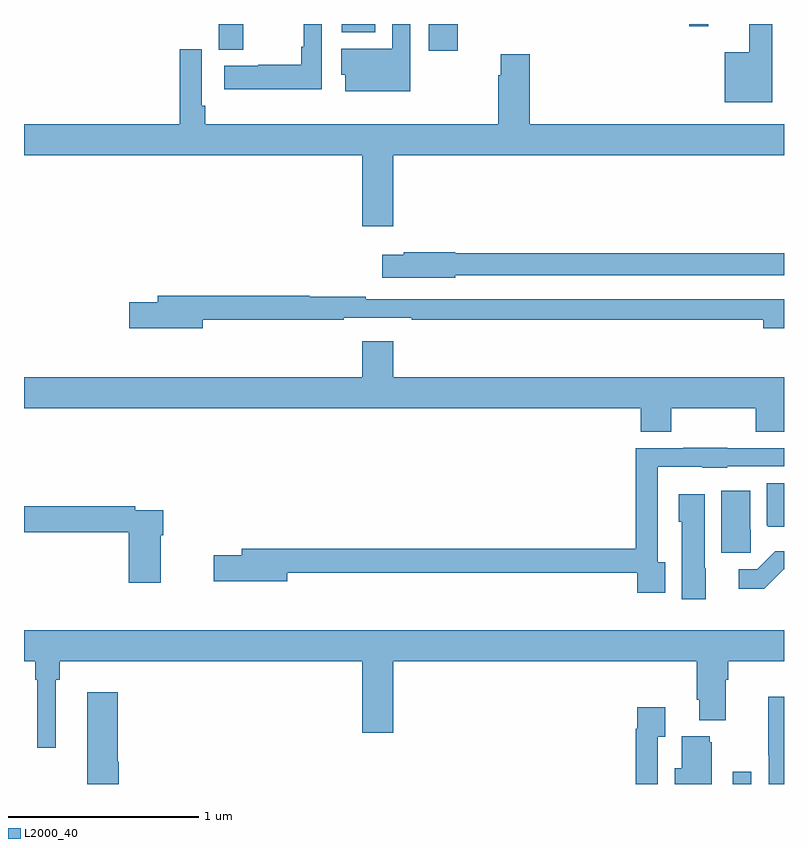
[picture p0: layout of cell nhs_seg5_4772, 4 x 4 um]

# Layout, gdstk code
import gdstk
lib = gdstk.Library(unit=1e-6, precision=1e-09)
def R(c, l, rs):  # rectangles x0, y0, x1, y1
    for r in rs: c.add(gdstk.rectangle(r[:2], r[2:], *l))
def P(c, l, *ps):  # polygons
    for p in ps: c.add(gdstk.Polygon(p, *l))
L2000_40 = (2000, 40)

nhs_seg5_4772 = lib.new_cell('nhs_seg5_4772')
R(nhs_seg5_4772, L2000_40, [(394.731,838.799,394.827,838.864), (393.131,842.658,393.283,842.799), (392.024,842.663,392.154,842.799), (392.672,842.756,392.848,842.799), (394.502,842.788,394.602,842.799)])
P(nhs_seg5_4772, L2000_40, [(392.568,842.799),(392.472,842.799),(392.472,842.68),(392.46,842.68),(392.46,842.584),(392.232,842.584),(392.232,842.578),(392.055,842.578),(392.055,842.456),(392.568,842.456)],
  [(394.939,842.799),(394.818,842.799),(394.818,842.65),(394.688,842.65),(394.688,842.387),(394.939,842.387)],
  [(393.033,842.799),(392.937,842.799),(392.937,842.668),(392.669,842.668),(392.669,842.532),(392.69,842.532),(392.69,842.444),(393.033,842.444)],
  [(392.944,842.108),(395,842.108),(395,842.272),(393.662,842.272),(393.662,842.641),(393.509,842.641),(393.509,842.528),(393.497,842.528),(393.497,842.272),(391.955,842.272),(391.955,842.368),(391.935,842.368),(391.935,842.665),(391.819,842.665),(391.819,842.272),(391,842.272),(391,842.108),(392.78,842.108),(392.78,841.734),(392.944,841.734)],
  [(393.27,841.476),(395,841.476),(395,841.592),(393.27,841.592),(393.27,841.598),(392.998,841.598),(392.998,841.585),(392.886,841.585),(392.886,841.463),(393.27,841.463)],
  [(391.942,841.242),(392.684,841.242),(392.684,841.254),(393.04,841.254),(393.04,841.242),(394.892,841.242),(394.892,841.199),(395,841.199),(395,841.35),(392.798,841.35),(392.798,841.363),(392.503,841.363),(392.503,841.37),(391.703,841.37),(391.703,841.334),(391.554,841.334),(391.554,841.199),(391.942,841.199)],
  [(394.407,840.776),(394.852,840.776),(394.852,840.652),(395,840.652),(395,840.94),(392.944,840.94),(392.944,841.129),(392.78,841.129),(392.78,840.94),(391,840.94),(391,840.776),(394.247,840.776),(394.247,840.652),(394.407,840.652)],
  [(394.375,839.966),(394.335,839.966),(394.335,840.47),(394.569,840.47),(394.569,840.464),(394.701,840.464),(394.701,840.471),(395,840.471),(395,840.567),(394.701,840.567),(394.701,840.569),(394.469,840.569),(394.469,840.567),(394.219,840.567),(394.219,840.038),(392.147,840.038),(392.147,840.002),(391.998,840.002),(391.998,839.867),(392.386,839.867),(392.386,839.91),(394.227,839.91),(394.227,839.805),(394.375,839.805)],
  [(395,840.382),(394.91,840.382),(394.91,840.16),(394.918,840.152),(395,840.152)],
  [(394.826,840.138),(394.822,840.138),(394.822,840.343),(394.67,840.343),(394.67,840.015),(394.826,840.015)],
  [(394.588,839.934),(394.582,839.934),(394.582,840.325),(394.445,840.325),(394.445,840.18),(394.463,840.18),(394.463,839.772),(394.588,839.772)],
  [(391.72,840.107),(391.733,840.107),(391.733,840.24),(391.586,840.24),(391.586,840.26),(391,840.26),(391,840.124),(391.55,840.124),(391.55,839.859),(391.72,839.859)],
  [(394.998,839.928),(395,839.928),(395,840.023),(394.955,840.023),(394.86,839.928),(394.761,839.928),(394.761,839.826),(394.896,839.826)],
  [(391,839.444),(391.058,839.444),(391.058,839.348),(391.071,839.348),(391.071,838.989),(391.168,838.989),(391.168,839.348),(391.187,839.348),(391.187,839.444),(392.78,839.444),(392.78,839.07),(392.944,839.07),(392.944,839.444),(394.541,839.444),(394.541,839.242),(394.553,839.242),(394.553,839.135),(394.693,839.135),(394.693,839.348),(394.706,839.348),(394.706,839.444),(395,839.444),(395,839.608),(391,839.608)],
  [(391.498,838.917),(391.493,838.917),(391.493,839.281),(391.334,839.281),(391.334,838.799),(391.498,838.799)],
  [(395,839.258),(394.918,839.258),(394.918,838.951),(394.92,838.951),(394.92,838.799),(395,838.799)],
  [(394.335,839.047),(394.375,839.047),(394.375,839.203),(394.227,839.203),(394.227,839.09),(394.219,839.09),(394.219,838.799),(394.335,838.799)],
  [(394.621,839.019),(394.61,839.019),(394.61,839.05),(394.463,839.05),(394.463,838.882),(394.424,838.882),(394.424,838.799),(394.621,838.799)])

lib.write_gds('nhs_seg5_4772.gds')
